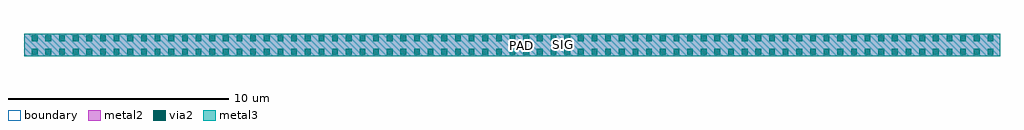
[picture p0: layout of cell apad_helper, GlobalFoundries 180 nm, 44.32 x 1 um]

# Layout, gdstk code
import gdstk
lib = gdstk.Library(unit=1e-6, precision=1e-09)
def R(c, l, rs):  # rectangles x0, y0, x1, y1
    for r in rs: c.add(gdstk.rectangle(r[:2], r[2:], *l))
def A(c, l, x, y, w, h, nx, ny, dx, dy):  # array of equal rectangles
    R(c, l, [(x+i*dx, y+j*dy, x+i*dx+w, y+j*dy+h) for i in range(nx) for j in range(ny)])
boundary = (0, 0)
metal2 = (36, 0)
via2 = (38, 0)
metal3 = (42, 0)

apad_helper = lib.new_cell('apad_helper')
R(apad_helper, boundary, [(0,0,44.32,1)])
R(apad_helper, metal2, [(0,0,44.32,1)])
A(apad_helper, via2, 0.355, 0.06, 0.26, 0.26, 71, 2, 0.62, 0.62)
R(apad_helper, metal3, [(0,0,44.32,1)])
apad_helper.add(gdstk.Label('PAD', (22.57,0.49), layer=36, texttype=10))
apad_helper.add(gdstk.Label('SIG', (24.52,0.535), layer=42, texttype=10))

lib.write_gds('apad_helper.gds')
